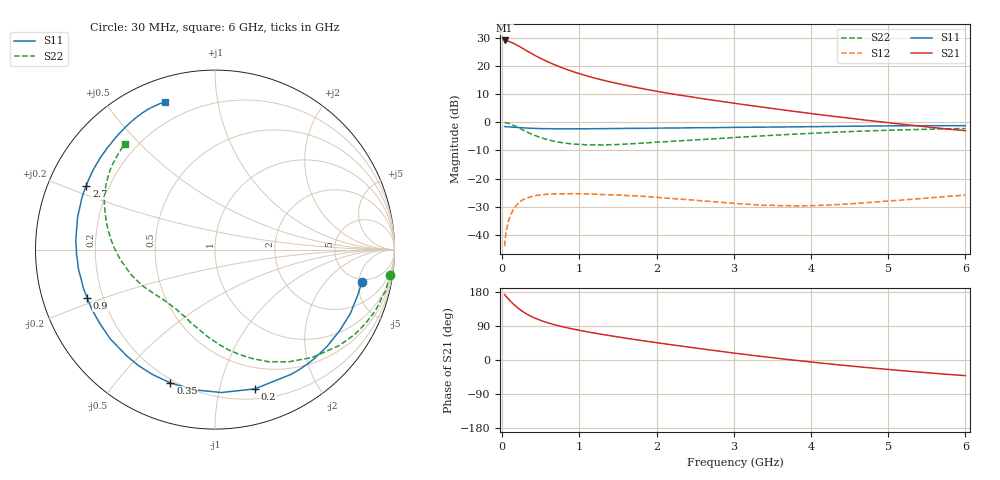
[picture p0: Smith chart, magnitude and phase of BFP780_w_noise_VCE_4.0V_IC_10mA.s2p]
! Infineon Technologies  Discrete & RF Semiconductors
! BFP780
! VCE =  4.0 V,  IC =  10 mA
! Common Emitter S-Parameters:  Jul 2015
# GHz  S  MA  R  50
!  f  S11  S21  S12  S22
! GHz  MAG  ANG  MAG  ANG  MAG  ANG  MAG  ANG
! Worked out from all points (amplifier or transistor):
!   75 points, 30 MHz to 6 GHz, reference 50 ohm
!   highest |S21| = 29.0 dB at 30 MHz (marker M1)
!   |S21| within 3 dB of that: start of sweep to 275.3 MHz
!   unconditionally stable (mu >= 1): 2.6 GHz to end of sweep
!   at 150 MHz: K = 0.07, MSG = 29.3 dB, |S12| = -30.7 dB
!   at 2.3 GHz: K = 0.84, MSG = 18.4 dB, |S12| = -27.3 dB
!   at 6 GHz: K = 1.42, MAG = 7.5 dB, |S12| = -25.8 dB
!   lowest NFmin = 0.78 dB at 450 MHz
!   S11 on the Smith chart (normalised r, x): 30 MHz: 4.47, -5.47; 200 MHz: 0.29, -1.29; 350 MHz: 0.18, -0.70; 900 MHz: 0.14, -0.18; 2.7 GHz: 0.12, +0.23; 6 GHz: 0.11, +0.71
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0.03  0.8373 -12.6  28.28 172.7  0.0063 80.0  0.9859 -8.2
0.05  0.8325 -21.0  28.11 167.7  0.012 75.4  0.9791 -13.5
0.08  0.8286 -33.0  27.42 160.8  0.0174 71.1  0.9543 -21.2
0.12  0.8218 -48.0  26.09 152.2  0.0241 62.9  0.9117 -31.1
0.15  0.8142 -58.6  25.03 146.3  0.0293 57.1  0.8736 -37.8
0.2  0.8071 -74.0  22.94 137.6  0.0356 49.9  0.8095 -47.9
0.25  0.7971 -87.4  21.03 129.8  0.0408 42.8  0.7476 -56.8
0.3  0.7899 -98.6  19.08 123.3  0.0441 37.5  0.6911 -64.6
0.35  0.7833 -108.5  17.47 117.5  0.0467 32.5  0.6403 -71.3
0.45  0.7743 -123.4  14.65 108.2  0.0503 24.4  0.5636 -82.3
0.5  0.7701 -129.6  13.53 104.3  0.0513 21.5  0.5308 -87.2
0.6  0.7669 -139.7  11.65 97.5  0.0529 16.2  0.4842 -95.4
0.7  0.7623 -147.5  10.17 91.8  0.0535 12.2  0.4503 -102.1
0.9  0.7616 -159.3  8.061 82.4  0.0539 5.8  0.4108 -113.6
1.1  0.7637 -167.9  6.614 74.4  0.0533 1.2  0.3962 -122.7
1.6  0.7769 176.7  4.522 57.6  0.05 -6.9  0.4091 -140.3
2.1  0.7873 165.3  3.351 42.8  0.045 -12.2  0.4498 -153.2
2.7  0.8003 153.6  2.491 26.3  0.0392 -13.2  0.5031 -167.8
3.1  0.8113 146.5  2.08 15.8  0.0355 -10.9  0.544 -177.3
4.1  0.836 130.6  1.371 -7.4  0.0334 4.4  0.6444 161.7
5.1  0.863 117.9  0.946 -26.8  0.0408 14.1  0.7258 144.5
6  0.8692 108.8  0.707 -41.3  0.0511 14.2  0.7726 130.6
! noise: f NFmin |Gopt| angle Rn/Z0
0.45  0.78  0.21  99  0.08
0.9  0.87  0.24  126  0.11
1.5  1.06  0.36  157  0.06
1.8  1.29  0.44  173  0.06
2.4  1.55  0.52  -176  0.07
3  1.98  0.57  -157  0.12
3.5  2.67  0.62  -142  0.24
